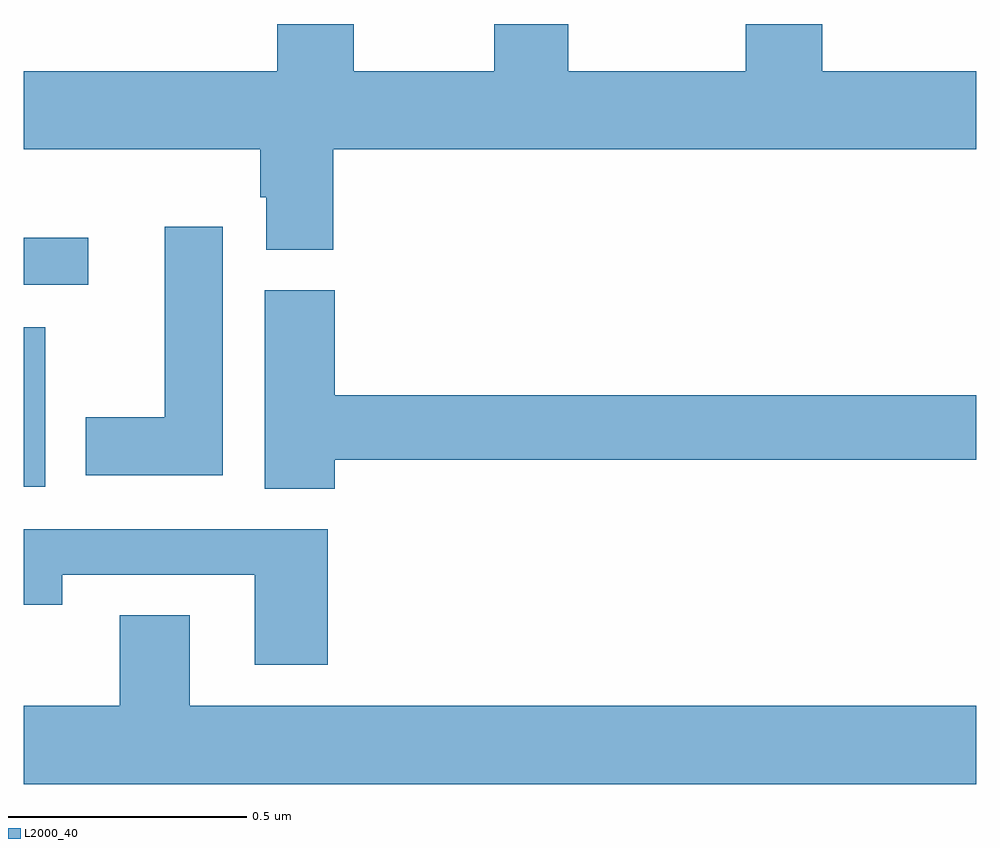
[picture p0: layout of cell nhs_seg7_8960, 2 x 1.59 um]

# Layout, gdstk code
import gdstk
lib = gdstk.Library(unit=1e-6, precision=1e-09)
def R(c, l, rs):  # rectangles x0, y0, x1, y1
    for r in rs: c.add(gdstk.rectangle(r[:2], r[2:], *l))
def P(c, l, *ps):  # polygons
    for p in ps: c.add(gdstk.Polygon(p, *l))
L2000_40 = (2000, 40)

nhs_seg7_8960 = lib.new_cell('nhs_seg7_8960')
R(nhs_seg7_8960, L2000_40, [(231,1043.864,231.046,1044.199), (231,1044.288,231.136,1044.386)])
P(nhs_seg7_8960, L2000_40, [(231.65,1044.572),(233,1044.572),(233,1044.736),(232.676,1044.736),(232.676,1044.835),(232.516,1044.835),(232.516,1044.736),(232.143,1044.736),(232.143,1044.835),(231.988,1044.835),(231.988,1044.736),(231.693,1044.736),(231.693,1044.835),(231.533,1044.835),(231.533,1044.736),(231,1044.736),(231,1044.572),(231.497,1044.572),(231.497,1044.471),(231.509,1044.471),(231.509,1044.361),(231.65,1044.361)],
  [(231.418,1044.409),(231.296,1044.409),(231.296,1044.01),(231.131,1044.01),(231.131,1043.888),(231.418,1043.888)],
  [(231.653,1043.92),(233,1043.92),(233,1044.056),(231.653,1044.056),(231.653,1044.276),(231.506,1044.276),(231.506,1043.86),(231.653,1043.86)],
  [(231.638,1043.775),(231,1043.775),(231,1043.616),(231.081,1043.616),(231.081,1043.679),(231.485,1043.679),(231.485,1043.49),(231.638,1043.49)],
  [(233,1043.404),(231.349,1043.404),(231.349,1043.594),(231.202,1043.594),(231.202,1043.404),(231,1043.404),(231,1043.24),(233,1043.24)])

lib.write_gds('nhs_seg7_8960.gds')
